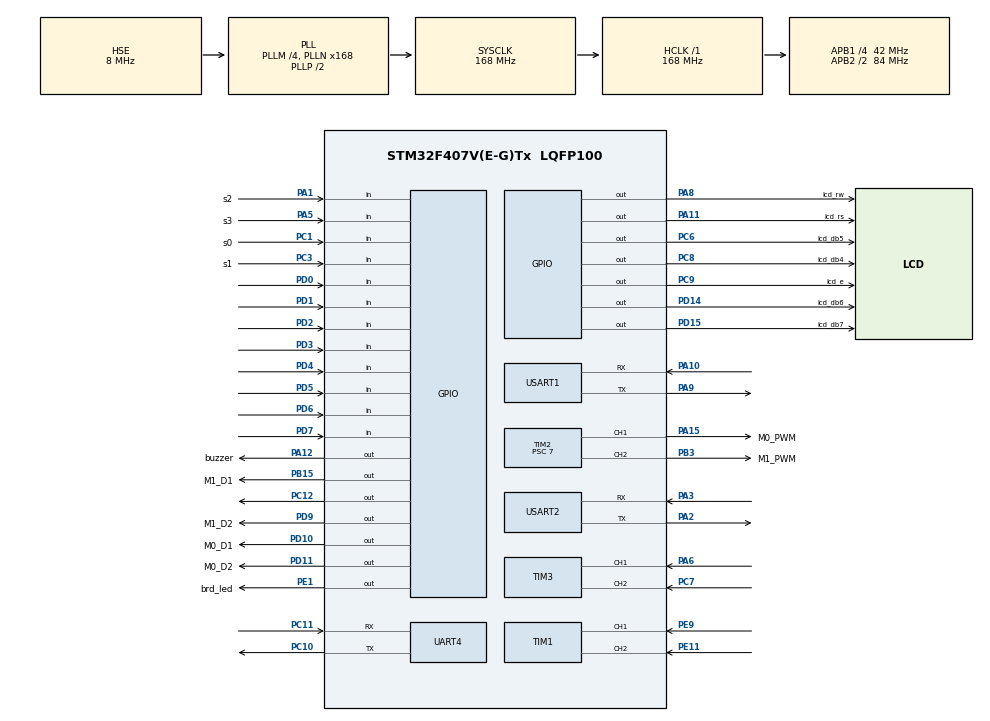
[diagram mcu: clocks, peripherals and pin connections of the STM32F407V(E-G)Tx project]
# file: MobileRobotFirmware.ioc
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Dma.Request0=USART2_RX
Dma.Request1=UART4_RX
Dma.Request2=USART1_RX
Dma.Request3=USART1_TX
Dma.UART4_RX.1.Direction=DMA_PERIPH_TO_MEMORY
Dma.UART4_RX.1.FIFOMode=DMA_FIFOMODE_DISABLE
Dma.UART4_RX.1.Instance=DMA1_Stream2
Dma.UART4_RX.1.MemDataAlignment=DMA_MDATAALIGN_BYTE
Dma.UART4_RX.1.MemInc=DMA_MINC_ENABLE
Dma.UART4_RX.1.Mode=DMA_NORMAL
Dma.UART4_RX.1.PeriphDataAlignment=DMA_PDATAALIGN_BYTE
Dma.UART4_RX.1.PeriphInc=DMA_PINC_DISABLE
Dma.UART4_RX.1.Priority=DMA_PRIORITY_LOW
Dma.USART1_RX.2.Direction=DMA_PERIPH_TO_MEMORY
Dma.USART1_RX.2.FIFOMode=DMA_FIFOMODE_DISABLE
Dma.USART1_RX.2.Instance=DMA2_Stream2
Dma.USART1_RX.2.MemDataAlignment=DMA_MDATAALIGN_BYTE
Dma.USART1_RX.2.MemInc=DMA_MINC_ENABLE
Dma.USART1_RX.2.Mode=DMA_NORMAL
Dma.USART1_RX.2.PeriphDataAlignment=DMA_PDATAALIGN_BYTE
Dma.USART1_RX.2.PeriphInc=DMA_PINC_DISABLE
Dma.USART1_RX.2.Priority=DMA_PRIORITY_LOW
Dma.USART1_TX.3.Direction=DMA_MEMORY_TO_PERIPH
Dma.USART1_TX.3.FIFOMode=DMA_FIFOMODE_DISABLE
Dma.USART1_TX.3.Instance=DMA2_Stream7
Dma.USART1_TX.3.MemDataAlignment=DMA_MDATAALIGN_BYTE
Dma.USART1_TX.3.MemInc=DMA_MINC_ENABLE
Dma.USART1_TX.3.Mode=DMA_NORMAL
Dma.USART1_TX.3.PeriphDataAlignment=DMA_PDATAALIGN_BYTE
Dma.USART1_TX.3.PeriphInc=DMA_PINC_DISABLE
Dma.USART1_TX.3.Priority=DMA_PRIORITY_LOW
Dma.USART2_RX.0.Direction=DMA_PERIPH_TO_MEMORY
Dma.USART2_RX.0.FIFOMode=DMA_FIFOMODE_DISABLE
Dma.USART2_RX.0.Instance=DMA1_Stream5
Dma.USART2_RX.0.MemDataAlignment=DMA_MDATAALIGN_BYTE
Dma.USART2_RX.0.MemInc=DMA_MINC_ENABLE
Dma.USART2_RX.0.Mode=DMA_NORMAL
Dma.USART2_RX.0.PeriphDataAlignment=DMA_PDATAALIGN_BYTE
Dma.USART2_RX.0.PeriphInc=DMA_PINC_DISABLE
Dma.USART2_RX.0.Priority=DMA_PRIORITY_LOW
Mcu.Family=STM32F4
Mcu.Name=STM32F407V(E-G)Tx
Mcu.Package=LQFP100
NVIC.DMA1_Stream2_IRQn=true\:0\:0\:false\:false\:true\:false\:true\:true
NVIC.DMA1_Stream5_IRQn=true\:0\:0\:false\:false\:true\:false\:true\:true
NVIC.DMA2_Stream2_IRQn=true\:0\:0\:false\:false\:true\:false\:true\:true
NVIC.DMA2_Stream7_IRQn=true\:0\:0\:false\:false\:true\:false\:true\:true
NVIC.PriorityGroup=NVIC_PRIORITYGROUP_4
NVIC.TIM6_DAC_IRQn=true\:0\:0\:false\:false\:true\:true\:true\:true
NVIC.UART4_IRQn=true\:0\:0\:false\:false\:true\:true\:true\:true
NVIC.USART1_IRQn=true\:0\:0\:false\:false\:true\:true\:true\:true
NVIC.USART2_IRQn=true\:0\:0\:false\:false\:true\:true\:true\:true
PA1.GPIO_Label=s2
PA1.GPIO_PuPd=GPIO_PULLUP
PA1.Signal=GPIO_Input
PA10.Mode=Asynchronous
PA10.Signal=USART1_RX
PA11.GPIO_Label=lcd_rs
PA11.GPIO_Speed=GPIO_SPEED_FREQ_VERY_HIGH
PA11.Signal=GPIO_Output
PA12.GPIO_Label=buzzer
PA12.GPIO_Speed=GPIO_SPEED_FREQ_VERY_HIGH
PA12.Signal=GPIO_Output
PA15.GPIO_Label=M0_PWM
PA15.Signal=S_TIM2_CH1_ETR
PA2.Mode=Asynchronous
PA2.Signal=USART2_TX
PA3.Mode=Asynchronous
PA3.Signal=USART2_RX
PA5.GPIO_Label=s3
PA5.GPIO_PuPd=GPIO_PULLUP
PA5.Signal=GPIO_Input
PA6.Signal=S_TIM3_CH1
PA8.GPIO_Label=lcd_rw
PA8.GPIO_Speed=GPIO_SPEED_FREQ_VERY_HIGH
PA8.Signal=GPIO_Output
PA9.Mode=Asynchronous
PA9.Signal=USART1_TX
PB15.GPIO_Label=M1_D1
PB15.GPIO_Speed=GPIO_SPEED_FREQ_VERY_HIGH
PB15.Signal=GPIO_Output
PB3.GPIO_Label=M1_PWM
PB3.Signal=S_TIM2_CH2
PC1.GPIO_Label=s0
PC1.GPIO_PuPd=GPIO_PULLUP
PC1.Signal=GPIO_Input
PC10.Mode=Asynchronous
PC10.Signal=UART4_TX
PC11.Mode=Asynchronous
PC11.Signal=UART4_RX
PC12.Signal=GPIO_Output
PC3.GPIO_Label=s1
PC3.GPIO_PuPd=GPIO_PULLUP
PC3.Signal=GPIO_Input
PC6.GPIO_Label=lcd_db5
PC6.GPIO_Speed=GPIO_SPEED_FREQ_VERY_HIGH
PC6.Signal=GPIO_Output
PC7.Signal=S_TIM3_CH2
PC8.GPIO_Label=lcd_db4
PC8.GPIO_Speed=GPIO_SPEED_FREQ_VERY_HIGH
PC8.Signal=GPIO_Output
PC9.GPIO_Label=lcd_e
PC9.GPIO_Speed=GPIO_SPEED_FREQ_VERY_HIGH
PC9.Signal=GPIO_Output
PD0.GPIO_PuPd=GPIO_PULLDOWN
PD0.Signal=GPIO_Input
PD1.GPIO_PuPd=GPIO_PULLDOWN
PD1.Signal=GPIO_Input
PD10.GPIO_Label=M0_D1
PD10.GPIO_Speed=GPIO_SPEED_FREQ_VERY_HIGH
PD10.Signal=GPIO_Output
PD11.GPIO_Label=M0_D2
PD11.GPIO_Speed=GPIO_SPEED_FREQ_VERY_HIGH
PD11.Signal=GPIO_Output
PD14.GPIO_Label=lcd_db6
PD14.GPIO_Speed=GPIO_SPEED_FREQ_VERY_HIGH
PD14.Signal=GPIO_Output
PD15.GPIO_Label=lcd_db7
PD15.GPIO_Speed=GPIO_SPEED_FREQ_VERY_HIGH
PD15.Signal=GPIO_Output
PD2.GPIO_PuPd=GPIO_PULLDOWN
PD2.Signal=GPIO_Input
PD3.GPIO_PuPd=GPIO_PULLDOWN
PD3.Signal=GPIO_Input
PD4.GPIO_PuPd=GPIO_PULLDOWN
PD4.Signal=GPIO_Input
PD5.GPIO_PuPd=GPIO_PULLDOWN
PD5.Signal=GPIO_Input
PD6.GPIO_PuPd=GPIO_PULLDOWN
PD6.Signal=GPIO_Input
PD7.GPIO_PuPd=GPIO_PULLDOWN
PD7.Signal=GPIO_Input
PD9.GPIO_Label=M1_D2
PD9.GPIO_Speed=GPIO_SPEED_FREQ_VERY_HIGH
PD9.Signal=GPIO_Output
PE1.GPIO_Label=brd_led
PE1.Signal=GPIO_Output
PE11.Signal=S_TIM1_CH2
PE9.Signal=S_TIM1_CH1
PH0-OSC_IN.Mode=HSE-External-Oscillator
PH0-OSC_IN.Signal=RCC_OSC_IN
PH1-OSC_OUT.Mode=HSE-External-Oscillator
PH1-OSC_OUT.Signal=RCC_OSC_OUT
ProjectManager.HeapSize=0x200
ProjectManager.StackSize=0x400
ProjectManager.TargetToolchain=STM32CubeIDE
RCC.48MHZClocksFreq_Value=84000000
RCC.AHBFreq_Value=168000000
RCC.APB1CLKDivider=RCC_HCLK_DIV4
RCC.APB1Freq_Value=42000000
RCC.APB1TimFreq_Value=84000000
RCC.APB2CLKDivider=RCC_HCLK_DIV2
RCC.APB2Freq_Value=84000000
RCC.APB2TimFreq_Value=168000000
RCC.CortexFreq_Value=168000000
RCC.EnbaleCSS=true
RCC.HCLKFreq_Value=168000000
RCC.HSE_VALUE=8000000
RCC.HSI_VALUE=16000000
RCC.LSE_VALUE=32768
RCC.PLLM=4
RCC.PLLN=168
RCC.PLLSourceVirtual=RCC_PLLSOURCE_HSE
RCC.SYSCLKFreq_VALUE=168000000
RCC.SYSCLKSource=RCC_SYSCLKSOURCE_PLLCLK
RCC.VCOOutputFreq_Value=336000000
SH.S_TIM1_CH1.0=TIM1_CH1,Encoder_Interface
SH.S_TIM1_CH2.0=TIM1_CH2,Encoder_Interface
SH.S_TIM2_CH1_ETR.0=TIM2_CH1,PWM Generation1 CH1
SH.S_TIM2_CH2.0=TIM2_CH2,PWM Generation2 CH2
SH.S_TIM3_CH1.0=TIM3_CH1,Encoder_Interface
SH.S_TIM3_CH2.0=TIM3_CH2,Encoder_Interface
TIM2.Channel-PWM\ Generation1\ CH1=TIM_CHANNEL_1
TIM2.Channel-PWM\ Generation2\ CH2=TIM_CHANNEL_2
TIM2.Period=1000
TIM2.Prescaler=7
TIM6.Period=9999
TIM6.Prescaler=83
TIM6.TIM_MasterOutputTrigger=TIM_TRGO_UPDATE
UART4.VirtualMode=Asynchronous
USART1.VirtualMode=VM_ASYNC
USART2.VirtualMode=VM_ASYNC
VP_TIM6_VS_ClockSourceINT.Mode=Enable_Timer
board=custom

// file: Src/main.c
/* USER CODE BEGIN Header */
/**
  ******************************************************************************
  * @file           : main.c
  * @brief          : Main program body
  ******************************************************************************
  * @attention
  *
  * Copyright (c) 2022 STMicroelectronics.
  * All rights reserved.
  *
  * This software is licensed under terms that can be found in the LICENSE file
  * in the root directory of this software component.
  * If no LICENSE file comes with this software, it is provided AS-IS.
  *
  ******************************************************************************
  */
/* USER CODE END Header */
#include "main.h"
#include "dma.h"
#include "tim.h"
#include "usart.h"
#include "gpio.h"

/* USER CODE BEGIN Includes */
#include "stdlib.h"
#include "stdio.h"
#include "string.h"
#include "math.h"
#include "lcd.h"
/* USER CODE END Includes */

/* USER CODE BEGIN PD */
#define M0_VPWM TIM2->CCR1
#define M1_VPWM TIM2->CCR2

/* USER CODE END PD */

/* USER CODE BEGIN PV */
uint8_t buff_SRF_serial[23];
uint8_t uart2_terima;
uint8_t uart2_status;

float distanceLeft, distanceRight, distanceAll =0;
float SRF_Distance[5];

uint8_t buff_gyro_kirim;
uint8_t buff_gyro_terima[8];
float GyroData;

//uint16_t Encoder[2];
int8_t Encoder[2];
int pulseRight, pulseLeft, pulseAll = 0;
int16_t MotorPWM[2];
int lastTimeTick = 0;

uint8_t tombol[4];

// line sensor init
uint8_t linesensor[8];
uint8_t pvlineSensor=0; //present value of line sensor

//PID init
int8_t P=0;
int8_t I=0;
int8_t D=0;
int8_t PD=0;
int8_t PID=0;
int8_t lastError=0;
uint8_t Kp=10;
uint8_t Ki=0;
uint8_t Kd=80;
int8_t error=0;

Lcd_PortType ports[] = {lcd_db4_GPIO_Port,lcd_db5_GPIO_Port,lcd_db6_GPIO_Port,lcd_db7_GPIO_Port};
Lcd_PinType pins[] = {lcd_db4_Pin, lcd_db5_Pin,lcd_db6_Pin,lcd_db7_Pin};

Lcd_HandleTypeDef lcd;

char buff_lcd[16];

uint8_t PC_Terima[24];
uint8_t status_serialPC;
uint8_t buff_PCSerial;

uint8_t Buzz;
uint8_t taskNumber;
uint16_t radoftrack;
uint16_t numofpict;
int steps=0;
int16_t speedTerima;

uint8_t PC_Kirim[128];
uint8_t TombolKirim = 0xff;
uint8_t captState=0;

/* USER CODE END PV */

void SystemClock_Config(void);
/* USER CODE BEGIN PFP */
void MotorSetPWM(int16_t pwm[2]);
void Reset_Enc1();
void Reset_Enc2();
void Reset_Enc();
int8_t errorMapping(uint8_t sensorState);
void calibrateLineSensor();
void runCapture();

/* USER CODE END PFP */

int main(void)
{

  /* MCU Configuration--------------------------------------------------------*/

  /* Reset of all peripherals, Initializes the Flash interface and the Systick. */
  HAL_Init();

  /* Configure the system clock */
  SystemClock_Config();

  /* Initialize all configured peripherals */
  MX_GPIO_Init();
  MX_DMA_Init();
  MX_USART2_UART_Init();
  MX_UART4_Init();
  MX_TIM2_Init();
  MX_TIM1_Init();
  MX_TIM3_Init();
  MX_USART1_UART_Init();
  MX_TIM6_Init();
  /* USER CODE BEGIN 2 */
  HAL_UART_Receive_DMA(&huart2, &uart2_terima, 1);
  HAL_UART_Receive_DMA(&huart4, buff_gyro_terima,8);
  HAL_UART_Receive_DMA(&huart1, &buff_PCSerial, 1);
//  HAL_UART_Receive_DMA(&huart1, PC_Terima, 8);

  HAL_TIM_Encoder_Start(&htim1, TIM_CHANNEL_ALL);
  HAL_TIM_Encoder_Start(&htim3, TIM_CHANNEL_ALL);

  HAL_TIM_PWM_Start(&htim2, TIM_CHANNEL_1);
  HAL_TIM_PWM_Start(&htim2, TIM_CHANNEL_2);

  HAL_TIM_Base_Start_IT(&htim6);

  for(int i = 0;i<20;i++)
  {
	  HAL_GPIO_TogglePin(buzzer_GPIO_Port, buzzer_Pin);
	  HAL_Delay(20);
  }
  HAL_GPIO_WritePin(buzzer_GPIO_Port, buzzer_Pin, GPIO_PIN_RESET);

  HAL_GPIO_WritePin(GPIOC, GPIO_PIN_12, GPIO_PIN_SET);
  lcd = Lcd_create(ports, pins, lcd_rs_GPIO_Port, lcd_rs_Pin, lcd_e_GPIO_Port, lcd_e_Pin, LCD_4_BIT_MODE);

  Lcd_string(&lcd, "--Mobile Robot--");
  Reset_Enc();
  /* USER CODE END 2 */

  /* Infinite loop */
  while (1)
  {

    /* USER CODE BEGIN 3 */

	  if(taskNumber == 1)
	  {
		  calibrateLineSensor();
	  }
	  if(taskNumber == 2)
	  {
		  runCapture();
	  }

	  /*
	  tombol[0] = HAL_GPIO_ReadPin(s0_GPIO_Port, s0_Pin);
	  tombol[1] = HAL_GPIO_ReadPin(s1_GPIO_Port, s1_Pin);
	  tombol[2] = HAL_GPIO_ReadPin(s2_GPIO_Port, s2_Pin);
	  tombol[3] = HAL_GPIO_ReadPin(s3_GPIO_Port, s3_Pin);

	  TombolKirim = tombol[0] | tombol[1]<<1 | tombol[2]<<2 | tombol[3]<<3;
	   */

	  sprintf(buff_lcd,"L:%.2f R:%.2f",distanceLeft,distanceRight);
	  Lcd_cursor(&lcd, 1, 0);
	  Lcd_string(&lcd, buff_lcd);

	  //sprintf(PC_Kirim,"%.2f,%.2f,%.2f,%.2f,%.2f,%.2f,%d,%d,%d,%d,%d,%d\n",SRF_Distance[0],SRF_Distance[1],SRF_Distance[2],
	  //			SRF_Distance[3],SRF_Distance[4],GyroData,Encoder[0],Encoder[1],tombol[0],tombol[1],tombol[2],tombol[3]);

	  //HAL_UART_Transmit(&huart1, PC_Kirim, strlen(PC_Kirim),100);
	  //HAL_Delay(10);

  }
  /* USER CODE END 3 */
}

void SystemClock_Config(void)
{
  RCC_OscInitTypeDef RCC_OscInitStruct = {0};
  RCC_ClkInitTypeDef RCC_ClkInitStruct = {0};

  /** Configure the main internal regulator output voltage
  */
  __HAL_RCC_PWR_CLK_ENABLE();
  __HAL_PWR_VOLTAGESCALING_CONFIG(PWR_REGULATOR_VOLTAGE_SCALE1);

  /** Initializes the RCC Oscillators according to the specified parameters
  * in the RCC_OscInitTypeDef structure.
  */
  RCC_OscInitStruct.OscillatorType = RCC_OSCILLATORTYPE_HSE;
  RCC_OscInitStruct.HSEState = RCC_HSE_ON;
  RCC_OscInitStruct.PLL.PLLState = RCC_PLL_ON;
  RCC_OscInitStruct.PLL.PLLSource = RCC_PLLSOURCE_HSE;
  RCC_OscInitStruct.PLL.PLLM = 4;
  RCC_OscInitStruct.PLL.PLLN = 168;
  RCC_OscInitStruct.PLL.PLLP = RCC_PLLP_DIV2;
  RCC_OscInitStruct.PLL.PLLQ = 4;
  if (HAL_RCC_OscConfig(&RCC_OscInitStruct) != HAL_OK)
  {
    Error_Handler();
  }

  /** Initializes the CPU, AHB and APB buses clocks
  */
  RCC_ClkInitStruct.ClockType = RCC_CLOCKTYPE_HCLK|RCC_CLOCKTYPE_SYSCLK
                              |RCC_CLOCKTYPE_PCLK1|RCC_CLOCKTYPE_PCLK2;
  RCC_ClkInitStruct.SYSCLKSource = RCC_SYSCLKSOURCE_PLLCLK;
  RCC_ClkInitStruct.AHBCLKDivider = RCC_SYSCLK_DIV1;
  RCC_ClkInitStruct.APB1CLKDivider = RCC_HCLK_DIV4;
  RCC_ClkInitStruct.APB2CLKDivider = RCC_HCLK_DIV2;

  if (HAL_RCC_ClockConfig(&RCC_ClkInitStruct, FLASH_LATENCY_5) != HAL_OK)
  {
    Error_Handler();
  }

  /** Enables the Clock Security System
  */
  HAL_RCC_EnableCSS();
}

/* USER CODE BEGIN 4 */
void HAL_UART_RxCpltCallback(UART_HandleTypeDef *huart)
{
	if(huart->Instance == USART2)
	{

		if(uart2_status == 0 && uart2_terima == 'm')
		{
			uart2_status = 1;
			HAL_UART_Receive_DMA(&huart2, &uart2_terima, 1);
		}
		else if(uart2_status == 1 && uart2_terima == 'r')
		{
			uart2_status =2;
			HAL_UART_Receive_DMA(&huart2, &uart2_terima, 1);
		}
		else if(uart2_status == 2 && uart2_terima == 'i')
		{
			uart2_status=3;
			HAL_UART_Receive_DMA(&huart2, buff_SRF_serial+3, 20);
		}
		else if(uart2_status == 3)
		{
			uart2_status = 0;
			memcpy(&SRF_Distance,buff_SRF_serial+3,20);

			HAL_UART_Receive_DMA(&huart2, &uart2_terima, 1);

		}
		else
		{
			uart2_status = 0;
			HAL_UART_Receive_DMA(&huart2, &uart2_terima, 1);
		}

	}
	else if(huart->Instance == UART4)
	{

		if(buff_gyro_terima[0] == 0xAA && buff_gyro_terima[7]==0x55)
		{
			volatile int16_t gyroRaw = buff_gyro_terima[1]<<8 | buff_gyro_terima[2];
			GyroData = gyroRaw * 0.01;
		}

		HAL_UART_Receive_DMA(&huart4, buff_gyro_terima,8);
	}
	else if(huart->Instance == USART1)
	{
		/*
		if(status_serialPC==0 && buff_PCSerial == 'm')
		{
			status_serialPC = 1;
			HAL_UART_Receive_DMA(&huart1, &buff_PCSerial, 1);
		}
		else if(status_serialPC == 1 && buff_PCSerial == 'r')
		{
			status_serialPC = 2;
			HAL_UART_Receive_DMA(&huart1, &buff_PCSerial, 1);
		}
		else if(status_serialPC == 2 && buff_PCSerial == 'i')
		{
			status_serialPC = 3;
			HAL_UART_Receive_DMA(&huart1, PC_Terima,5);
		}
		else if(status_serialPC == 3)
		{
			status_serialPC = 0;
			memcpy(MotorPWM,PC_Terima,4);
			memcpy(&Buzz,PC_Terima+4,1);
			HAL_UART_Receive_DMA(&huart1, &buff_PCSerial, 1);
		}
		else
		{	status_serialPC = 0;
			HAL_UART_Receive_DMA(&huart1, &buff_PCSerial, 1);
		}
		*/
		// command

		if(status_serialPC==0 && buff_PCSerial == '3')
		{
			status_serialPC = 1;
			HAL_UART_Receive_DMA(&huart1, &buff_PCSerial, 1);
		}
		else if(status_serialPC == 1 && buff_PCSerial == 'd')
		{
			status_serialPC = 2;
			HAL_UART_Receive_DMA(&huart1, &buff_PCSerial, 1);
		}
		else if(status_serialPC == 2 && buff_PCSerial == 'p')
		{
			status_serialPC = 3;
			HAL_UART_Receive_DMA(&huart1, PC_Terima,12);
		}
		else if(status_serialPC == 3)
		{
			status_serialPC = 0;
			memcpy(&taskNumber,PC_Terima,1);
			memcpy(&numofpict,PC_Terima+1,2);
			memcpy(&radoftrack,PC_Terima+3,2);
			memcpy(MotorPWM,PC_Terima+5,4);
			memcpy(&Kp,PC_Terima+9,1);
			memcpy(&Ki,PC_Terima+10,1);
			memcpy(&Kd,PC_Terima+11,1);
			HAL_UART_Receive_DMA(&huart1, &buff_PCSerial, 1);
		}
		else
		{	status_serialPC = 0;
			HAL_UART_Receive_DMA(&huart1, &buff_PCSerial, 1);
		}

		HAL_UART_Receive_DMA(&huart1, PC_Terima, 15);

	}

}
/*
void HAL_UART_TxCpltCallback(UART_HandleTypeDef *huart)
{
	if(HAL_GetTick()-lastTimeTick>20){
		sprintf(PC_Kirim,"%.2f,%.2f,%d\n",distanceAll, GyroData,captState);
		HAL_UART_Transmit_IT(&huart1, PC_Kirim, strlen(PC_Kirim));
		lastTimeTick=HAL_GetTick();
	}
}
*/
void MotorSetPWM(int16_t pwm[2])
{

	if(pwm[0]>0)
	{
		HAL_GPIO_WritePin(M0_D1_GPIO_Port, M0_D1_Pin, GPIO_PIN_RESET);
		HAL_GPIO_WritePin(M0_D2_GPIO_Port, M0_D2_Pin, GPIO_PIN_SET);
	}
	else
	{
		HAL_GPIO_WritePin(M0_D1_GPIO_Port, M0_D1_Pin, GPIO_PIN_SET);
		HAL_GPIO_WritePin(M0_D2_GPIO_Port, M0_D2_Pin, GPIO_PIN_RESET);
	}

	if(pwm[1]<0)
	{
		HAL_GPIO_WritePin(M1_D1_GPIO_Port, M1_D1_Pin, GPIO_PIN_RESET);
		HAL_GPIO_WritePin(M1_D2_GPIO_Port, M1_D2_Pin, GPIO_PIN_SET);
	}
	else
	{
		HAL_GPIO_WritePin(M1_D1_GPIO_Port, M1_D1_Pin, GPIO_PIN_SET);
		HAL_GPIO_WritePin(M1_D2_GPIO_Port, M1_D2_Pin, GPIO_PIN_RESET);
	}

	M0_VPWM = abs(pwm[0]);
	M1_VPWM = abs(pwm[1]);

}

void Reset_Enc1(){
	Encoder[0]=0;
	TIM3->CNT=65535;
	TIM3->CNT=0;
	distanceLeft=0;
	pulseLeft=0;
}
void Reset_Enc2(){
	Encoder[1]=0;
	TIM1->CNT=65535;
	TIM1->CNT=0;
	distanceRight=0;
	pulseRight=0;
}

void Reset_Enc(){
	Reset_Enc1();
	Reset_Enc2();
	distanceAll=0;
	pulseAll=0;
}

int8_t errorMapping(uint8_t sensorState)
{
	int8_t errorState;
	if(sensorState == 0b10000000){errorState = 7;}
	if(sensorState == 0b11000000){errorState = 6;}
	if(sensorState == 0b11100000){errorState = 6;}
	if(sensorState == 0b01000000){errorState = 5;}
	if(sensorState == 0b01100000){errorState = 4;}
	if(sensorState == 0b01110000){errorState = 4;}
	if(sensorState == 0b00100000){errorState = 3;}
	if(sensorState == 0b00110000){errorState = 2;}
	if(sensorState == 0b00111000){errorState = 2;}
	if(sensorState == 0b00010000){errorState = 1;}
	if(sensorState == 0b00011000){errorState = 0;}
	if(sensorState == 0b00001000){errorState = -1;}
	if(sensorState == 0b00011100){errorState = -2;}
	if(sensorState == 0b00001100){errorState = -2;}
	if(sensorState == 0b00000100){errorState = -3;}
	if(sensorState == 0b00001110){errorState = -4;}
	if(sensorState == 0b00000110){errorState = -4;}
	if(sensorState == 0b00000010){errorState = -5;}
	if(sensorState == 0b00000111){errorState = -6;}
	if(sensorState == 0b00000011){errorState = -6;}
	if(sensorState == 0b00000001){errorState = -7;}
	return errorState;
}

void calibrateLineSensor()
{
	MotorPWM[0]=0; MotorPWM[1]=0;

	HAL_GPIO_WritePin(GPIOC, GPIO_PIN_12, GPIO_PIN_RESET);
	HAL_Delay(100);
	HAL_GPIO_WritePin(GPIOC, GPIO_PIN_12, GPIO_PIN_SET);
	HAL_Delay(100);

	MotorPWM[0]=100; MotorPWM[1]=-100;
	HAL_Delay(500);
	MotorPWM[0]=0; MotorPWM[1]=0;
	HAL_Delay(500);
	MotorPWM[0]=-100; MotorPWM[1]=100;
	HAL_Delay(1000);
	MotorPWM[0]=0; MotorPWM[1]=0;
	HAL_Delay(500);
	MotorPWM[0]=100; MotorPWM[1]=-100;
	HAL_Delay(500);
	MotorPWM[0]=0; MotorPWM[1]=0;
	HAL_Delay(500);

	taskNumber=0;
}

void runCapture()
{
	  Reset_Enc();
	  steps=0;
	  int timeSampling = 1;
	  uint16_t pwm0 = MotorPWM[0];
	  uint16_t pwm1 = MotorPWM[1];
	  while(steps<numofpict){
		  while(1){
			  linesensor[0] = HAL_GPIO_ReadPin(GPIOD, GPIO_PIN_0);
			  linesensor[1] = HAL_GPIO_ReadPin(GPIOD, GPIO_PIN_1);
			  linesensor[2] = HAL_GPIO_ReadPin(GPIOD, GPIO_PIN_2);
			  linesensor[3] = HAL_GPIO_ReadPin(GPIOD, GPIO_PIN_3);
			  linesensor[4] = HAL_GPIO_ReadPin(GPIOD, GPIO_PIN_4);
			  linesensor[5] = HAL_GPIO_ReadPin(GPIOD, GPIO_PIN_5);
			  linesensor[6] = HAL_GPIO_ReadPin(GPIOD, GPIO_PIN_6);
			  linesensor[7] = HAL_GPIO_ReadPin(GPIOD, GPIO_PIN_7);

			  pvlineSensor = linesensor[0] | linesensor[1]<<1 | linesensor[2]<<2 | linesensor[3]<<3 | linesensor[4]<<4 | linesensor[5]<<5 | linesensor[6]<<6 | linesensor[7]<<7;

			  error   =   errorMapping(pvlineSensor);
			  P       =   Kp*error;
			  I		  =   Ki*(error+lastError);
			  D       =   Kd*(error-lastError);//(Kd/timeSampling)*(error-lastError);
			  //PD      =   P+D;
			  PID	  = P+I+D;
			  MotorPWM[0]=pwm0-PID;//100-PID;
			  MotorPWM[1]=pwm1+PID;//100+PID;

			  lastError=error;
			  timeSampling=HAL_GetTick()-timeSampling;
			  distanceAll=(distanceLeft+distanceRight)/2;

			  if(HAL_GetTick()-lastTimeTick>30){
			  		//sprintf(PC_Kirim,"3dp,%.2f,%.2f,%d,%d\n",distanceAll, GyroData,captState,error);
				    sprintf(PC_Kirim,"p,%.2f,%.2f,%d,d\n",distanceAll,GyroData,error);
			  		HAL_UART_Transmit_IT(&huart1, PC_Kirim, strlen(PC_Kirim));
			  		lastTimeTick=HAL_GetTick();
			  	}

			  if(taskNumber == 0){
				  break;
			  }
			  if((distanceAll/(steps+1))>=(2*3.14*radoftrack)/numofpict){
				  MotorPWM[0]=0; MotorPWM[1]=0;
				  break;
			  }
			  //sprintf(PC_Kirim,"%.2f,%.2f,%d\n",distanceAll, GyroData,captState);
			  //HAL_UART_Transmit_IT(&huart1, PC_Kirim, strlen(PC_Kirim));
			  //HAL_UART_Transmit_DMA(&huart1, PC_Kirim, strlen(PC_Kirim));
		  }
		  if(taskNumber == 0){
		  	 break;
		  }
		  MotorPWM[0]=0; MotorPWM[1]=0;
		  HAL_Delay(500);
		  captState = 1;
		  //sprintf(PC_Kirim,"%.2f,%.2f,%d\n",distanceAll, GyroData,captState);
		  //HAL_UART_Transmit(&huart1, PC_Kirim, strlen(PC_Kirim),100);
		  HAL_UART_Transmit(&huart1, "c", strlen("c"),100);
		  //sprintf(PC_Kirim,"3dp,%.2f,%.2f,%d,%d\n",distanceAll, GyroData,captState,error);
		  sprintf(PC_Kirim,"p,%.2f,%d,%d\n",distanceAll, error,captState);
		  //HAL_UART_Transmit(&huart1, PC_Kirim, strlen(PC_Kirim),10);
		  //HAL_UART_Transmit_IT(&huart1, PC_Kirim, strlen(PC_Kirim));//,100);
		  /*
		  for(int n=0; n<3; n++){
			  HAL_UART_Transmit(&huart1, PC_Kirim, strlen(PC_Kirim),100);
		  }
			*/

		  //HAL_UART_Transmit_IT(&huart1, PC_Kirim, strlen(PC_Kirim));
		  //HAL_Delay(8000);
		  captState = 0;
		  //while(taskNumber != 4){}
		  HAL_Delay(6000);
		  //taskNumber=2;
		  steps=steps+1;
	  }
	  taskNumber=0;
}

void HAL_TIM_PeriodElapsedCallback(TIM_HandleTypeDef *htim)
{
	if(htim->Instance == TIM6)
	{
		HAL_GPIO_TogglePin(brd_led_GPIO_Port, brd_led_Pin);

		if(MotorPWM[0]>1000)
			MotorPWM[0] = 1000;
		else if(MotorPWM[0]<-1000)
			MotorPWM[0] = -1000;

		if(MotorPWM[1]>1000)
			MotorPWM[1] = 1000;
		else if(MotorPWM[1]<-1000)
			MotorPWM[1] = -1000;

		MotorSetPWM(MotorPWM);

		Encoder[0]=TIM3->CNT - 65535;
		TIM3->CNT=65535;
		pulseLeft+=(float)(Encoder[0]);  //* Clicks1;
		distanceLeft = ((float)(pulseLeft-1)/28000)*3.14*150;
		Encoder[0]=0;

		Encoder[1]=TIM1->CNT - 65535;
		TIM1->CNT=65535;
		pulseRight+=(float)(Encoder[1]); //* Clicks1;
		distanceRight = ((float)(pulseRight-1)/28000)*3.14*150;
		Encoder[1]=0;

		//Encoder[0] = __HAL_TIM_GET_COUNTER(&htim3);
		//Encoder[1] = __HAL_TIM_GET_COUNTER(&htim1);
		/*
		if(Buzz==1)
		{
			__HAL_TIM_SET_COUNTER(&htim3,0);
			__HAL_TIM_SET_COUNTER(&htim1,0);
			Buzz=0;
		}
		 */

		//if(Buzz>1)
		//	Buzz = 1;

		//HAL_GPIO_WritePin(buzzer_GPIO_Port, buzzer_Pin, Buzz);

	}
}

/* USER CODE END 4 */

void Error_Handler(void)
{
  __disable_irq();
  while (1)
  {
  }
}
